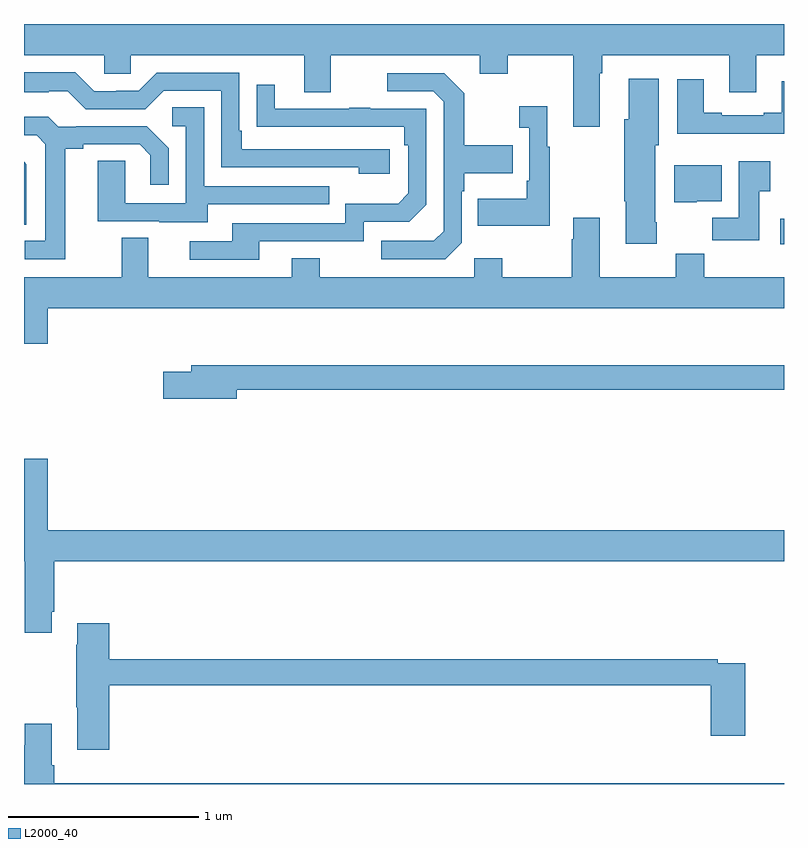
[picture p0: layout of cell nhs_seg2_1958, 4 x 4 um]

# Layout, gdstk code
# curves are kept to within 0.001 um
import gdstk
lib = gdstk.Library(unit=1e-6, precision=1e-09)
def R(c, l, rs):  # rectangles x0, y0, x1, y1
    for r in rs: c.add(gdstk.rectangle(r[:2], r[2:], *l))
def P(c, l, *ps):  # polygons
    for p in ps: c.add(gdstk.Polygon(p, *l))
L2000_40 = (2000, 40)

nhs_seg2_1958 = lib.new_cell('nhs_seg2_1958')
R(nhs_seg2_1958, L2000_40, [(216.981,646.64,217,646.774)])
P(nhs_seg2_1958, L2000_40, [(216.031,647.54),(216.044,647.54),(216.044,647.636),(216.713,647.636),(216.713,647.442),(216.853,647.442),(216.853,647.636),(217,647.636),(217,647.8),(213,647.8),(213,647.636),(213.423,647.636),(213.423,647.538),(213.561,647.538),(213.561,647.636),(214.475,647.636),(214.475,647.442),(214.615,647.442),(214.615,647.636),(215.399,647.636),(215.399,647.537),(215.547,647.537),(215.547,647.636),(215.891,647.636),(215.891,647.259),(216.031,647.259)],
  [(214.924,647.142),(214.147,647.142),(214.147,647.239),(214.134,647.239),(214.134,647.544),(213.699,647.544),(213.603,647.448),(213.485,647.448),(213.485,647.445),(213.369,647.445),(213.269,647.545),(213,647.545),(213,647.441),(213.131,647.441),(213.131,647.445),(213.231,647.445),(213.324,647.352),(213.639,647.352),(213.735,647.448),(214.038,647.448),(214.038,647.046),(214.763,647.046),(214.763,647.012),(214.924,647.012)],
  [(215.304,646.65),(215.304,646.919),(215.317,646.919),(215.317,647.015),(215.573,647.015),(215.573,647.163),(215.317,647.163),(215.317,647.435),(215.211,647.541),(214.911,647.541),(214.911,647.445),(215.154,647.445),(215.208,647.391),(215.208,646.71),(215.157,646.659),(214.881,646.659),(214.881,646.563),(215.217,646.563)],
  [(216.33,646.756),(216.322,646.756),(216.322,647.163),(216.34,647.163),(216.34,647.512),(216.182,647.512),(216.182,647.298),(216.16,647.298),(216.16,646.867),(216.167,646.867),(216.167,646.644),(216.33,646.644)],
  [(217,647.5),(216.989,647.5),(216.989,647.332),(216.893,647.332),(216.893,647.319),(216.673,647.319),(216.673,647.332),(216.577,647.332),(216.577,647.509),(216.437,647.509),(216.437,647.222),(217,647.222)],
  [(214.237,646.656),(214.788,646.656),(214.788,646.758),(215.028,646.758),(215.118,646.848),(215.118,647.355),(214.823,647.355),(214.823,647.36),(214.711,647.36),(214.711,647.355),(214.321,647.355),(214.321,647.479),(214.225,647.479),(214.225,647.26),(215.002,647.259),(215.002,647.162),(215.022,647.162),(215.022,646.908),(214.969,646.855),(214.692,646.855),(214.692,646.752),(214.097,646.752),(214.097,646.656),(213.873,646.656),(213.873,646.56),(214.237,646.56)],
  [(215.767,647.155),(215.755,647.155),(215.755,647.368),(215.607,647.368),(215.607,647.255),(215.658,647.255),(215.658,646.975),(215.646,646.975),(215.646,646.879),(215.389,646.879),(215.389,646.739),(215.767,646.739)],
  [(213.967,646.851),(214.607,646.851),(214.607,646.947),(213.948,646.947),(213.948,647.363),(213.78,647.363),(213.78,647.262),(213.852,647.262),(213.852,646.857),(213.534,646.857),(213.534,647.081),(213.389,647.081),(213.389,646.761),(213.713,646.761),(213.713,646.757),(213.967,646.757)],
  [(213.217,647.144),(213.313,647.144),(213.313,647.166),(213.608,647.166),(213.665,647.109),(213.665,646.953),(213.762,646.953),(213.762,647.146),(213.646,647.262),(213.274,647.262),(213.274,647.259),(213.18,647.259),(213.128,647.311),(213,647.311),(213,647.214),(213.066,647.214),(213.113,647.167),(213.113,646.659),(213.003,646.659),(213.003,646.563),(213.217,646.563)],
  [(216.871,646.921),(216.928,646.921),(216.928,647.077),(216.761,647.077),(216.761,646.78),(216.622,646.78),(216.622,646.662),(216.871,646.662)],
  [(213.012,647.062),(213,647.074),(213,646.744),(213.012,646.744)],
  [(216.54,646.868),(216.673,646.868),(216.673,647.056),(216.422,647.056),(216.422,646.862),(216.54,646.862)],
  [(213.124,646.304),(217,646.304),(217,646.468),(216.581,646.468),(216.581,646.592),(216.43,646.592),(216.43,646.468),(216.031,646.468),(216.031,646.78),(215.891,646.78),(215.891,646.667),(215.884,646.667),(215.884,646.468),(215.517,646.468),(215.517,646.567),(215.37,646.567),(215.37,646.468),(214.557,646.468),(214.557,646.567),(214.409,646.567),(214.409,646.468),(213.655,646.468),(213.655,646.676),(213.515,646.676),(213.515,646.468),(213,646.468),(213,646.116),(213.124,646.116)],
  [(214.12,645.874),(217,645.874),(217,646.003),(213.881,646.003),(213.881,645.969),(213.732,645.969),(213.732,645.827),(214.12,645.827)],
  [(213.145,644.707),(213.158,644.707),(213.158,644.972),(217,644.972),(217,645.136),(213.124,645.136),(213.124,645.511),(213,645.511),(213,644.972),(213.005,644.972),(213.005,644.595),(213.145,644.595)],
  [(213.449,644.32),(216.614,644.32),(216.614,644.055),(216.797,644.055),(216.797,644.436),(216.65,644.436),(216.65,644.456),(213.449,644.456),(213.449,644.647),(213.281,644.647),(213.281,644.534),(213.274,644.534),(213.274,644.203),(213.281,644.203),(213.281,643.98),(213.449,643.98)],
  [(217,643.804),(213.158,643.804),(213.158,643.9),(213.145,643.9),(213.145,644.116),(213.005,644.116),(213.005,644.003),(213,644.003),(213,643.8),(217,643.8)])

lib.write_gds('nhs_seg2_1958.gds')
